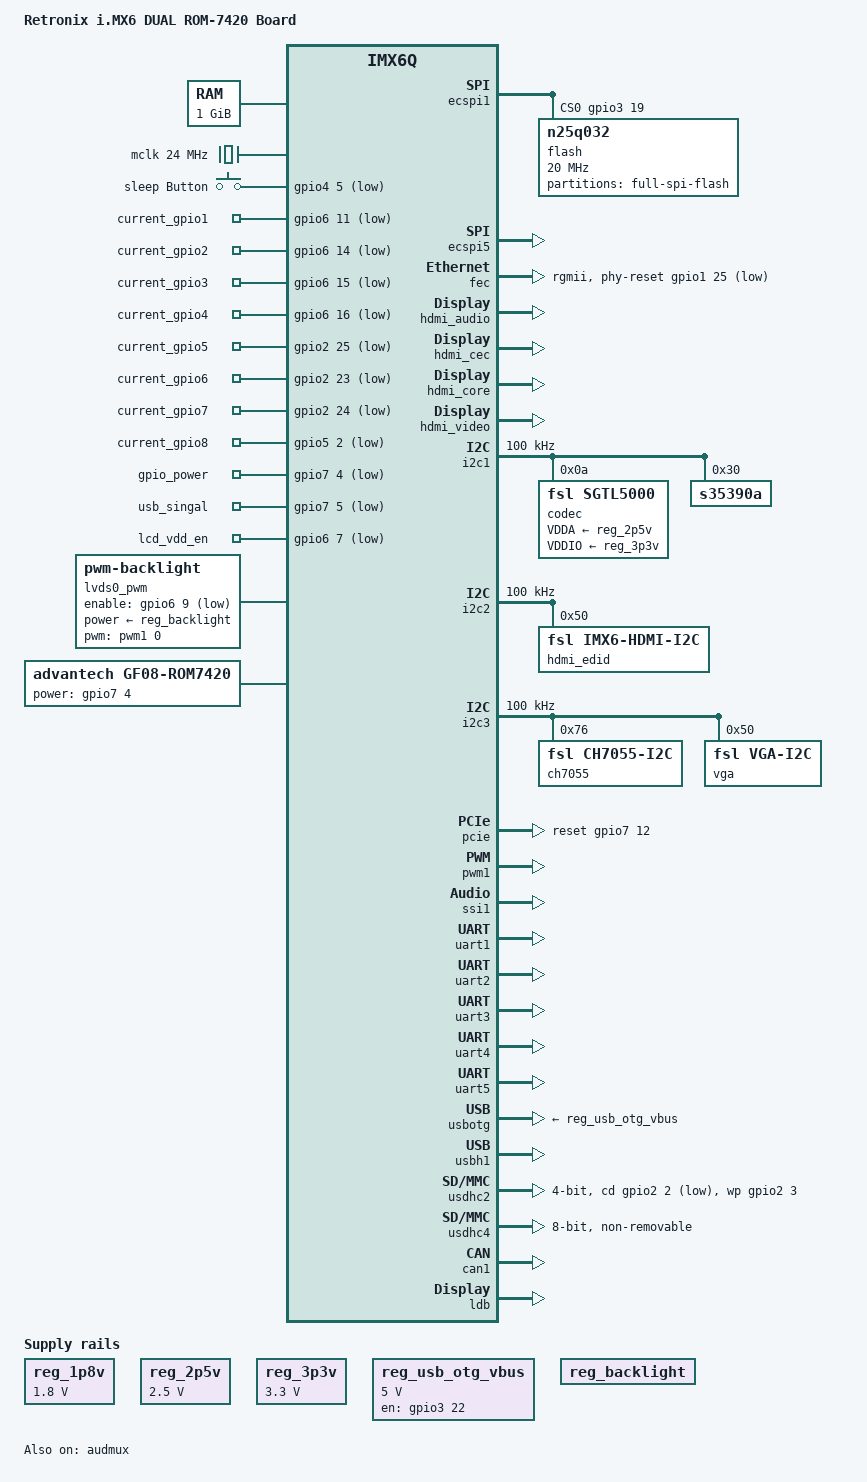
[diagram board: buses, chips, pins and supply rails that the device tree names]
/*
 * Copyright 2012 Freescale Semiconductor, Inc.
 * Copyright 2011 Linaro Ltd.
 *
 * The code contained herein is licensed under the GNU General Public
 * License. You may obtain a copy of the GNU General Public License
 * Version 2 or later at the following locations:
 *
 * http://www.opensource.org/licenses/gpl-license.html
 * http://www.gnu.org/copyleft/gpl.html
 */

/dts-v1/;

#include "skeleton.dtsi"
#include "imx6q-pinfunc.h"
#include <dt-bindings/gpio/gpio.h>
#include <dt-bindings/input/input.h>
#include <dt-bindings/interrupt-controller/arm-gic.h>
#include <dt-bindings/clock/imx6qdl-clock.h>
#include "imx6q-advantech-soc.dtsi"
#include "imx6q-advantech-rom7420-iomux.dtsi"

/ {
	model = "Retronix i.MX6 DUAL ROM-7420 Board";
	compatible = "fsl,imx6q-advantech-rom7420", "fsl,imx6q";
	
	aliases {
		mxcfb0 = &lvds_display;
		mxcfb1 = &lcd_display;
	};
	
	memory {
		reg = <0x10000000 0x40000000>;
	};
	
	clocks {
		#address-cells = <1>;
		#size-cells = <0>;
		mclk: clock@0 {
			compatible = "fixed-clock";
			reg = <0>;
			#clock-cells = <0>;
			clock-frequency = <24000000>;
		};
	};
	
	regulators {
		compatible = "simple-bus";
		#address-cells = <1>;
		#size-cells = <0>;
		
		reg_1p8v: 1p8v {
			compatible = "regulator-fixed";
			regulator-name = "1P8V";
			regulator-min-microvolt = <1800000>;
			regulator-max-microvolt = <1800000>;
			regulator-always-on;
		};

		reg_2p5v: 2p5v {
			compatible = "regulator-fixed";
			regulator-name = "2P5V";
			regulator-min-microvolt = <2500000>;
			regulator-max-microvolt = <2500000>;
			regulator-always-on;
		};

		reg_3p3v: 3p3v {
			compatible = "regulator-fixed";
			regulator-name = "3P3V";
			regulator-min-microvolt = <3300000>;
			regulator-max-microvolt = <3300000>;
			regulator-always-on;
		};

		reg_usb_otg_vbus: usb_otg_vbus {
			compatible = "regulator-fixed";
			regulator-name = "usb_otg_vbus";
			regulator-min-microvolt = <5000000>;
			regulator-max-microvolt = <5000000>;
			gpio = <&gpio3 22 0>;
			enable-active-high;
		};

		reg_backlight: backlight {
			compatible = "regulator-fixed";
			regulator-name = "lcd-supply";
			startup-delay-us = <5000>;
			enable-active-high;
		};
	
	};

	gpio-keys {
		compatible = "gpio-keys";
		pinctrl-names = "default";
		pinctrl-0 = <&pinctrl_keys_1>;
		
		sleep {
			label = "sleep Button";
			gpios = <&gpio4 5 1>;
			linux,code = <KEY_SUSPEND>; /* KEY_SUSPEND */
			gpio-key,wakeup;
		};

	};

	gpio_export {
		compatible = "gpio-export";

		/* current_gpio1 = <&gpio6 11 0>; 171 */
		current_gpio1 {
			/*gpio-export,name = "current_gpio1";*/
			gpio-export,output = <1>;
			gpio-export,direction_may_change ;
			gpios = <&gpio6 11 1>;
		};

		/* current_gpio2 = <&gpio6 14 0>; 174 */
		current_gpio2 {
			/*gpio-export,name = "current_gpio2";*/
			gpio-export,output = <1>;
			gpio-export,direction_may_change ;
			gpios = <&gpio6 14 1>;
		};

		/* current_gpio3 = <&gpio6 15 0>; 175 */
		current_gpio3 {
			/*gpio-export,name = "current_gpio3";*/
			gpio-export,output = <1>;
			gpio-export,direction_may_change ;
			gpios = <&gpio6 15 1>;
		};

		/* current_gpio4 = <&gpio6 16 0>; 176 */
		current_gpio4 {
			/*gpio-export,name = "current_gpio4";*/
			gpio-export,output = <1>;
			gpio-export,direction_may_change ;
			gpios = <&gpio6 16 1>;
		};

		/* current_gpio5 = <&gpio2 25 0>; 57 */
		current_gpio5 {
			/*gpio-export,name = "current_gpio5";*/
			gpio-export,output = <1>;
			gpio-export,direction_may_change ;
			gpios = <&gpio2 25 1>;
		};

		/* current_gpio6 = <&gpio2 23 0>; 55 */
		current_gpio6 {
			/*gpio-export,name = "current_gpio6";*/
			gpio-export,output = <1>;
			gpio-export,direction_may_change ;
			gpios = <&gpio2 23 1>;
		};
		
		/* current_gpio7 = <&gpio2 24 0>; 56 */
		current_gpio7 {
			/*gpio-export,name = "current_gpio7";*/
			gpio-export,output = <1>;
			gpio-export,direction_may_change ;
			gpios = <&gpio2 24 1>;
		};

		/* current_gpio8 = <&gpio5 2 0>; 130 */
		current_gpio8 {
			/*gpio-export,name = "current_gpio8";*/
			gpio-export,output = <1>;
			gpio-export,direction_may_change ;
			gpios = <&gpio5 2 1>;
		};
		

		/* can2_tx = <&gpio7 4 1>; 196 */
		gpio_power {
			/*gpio-export,name = "can2_tx";*/
			gpio-export,output = <1>;
			gpio-export,direction_may_change ;
			gpios = <&gpio7 4 1>;
		};	

		/* can2_rx = <&gpio7 5 1>; 197 */
		usb_singal {
			/*gpio-export,name = "can2_rx";*/
			gpio-export,output = <1>;
			gpio-export,direction_may_change ;
			gpios = <&gpio7 5 1>;
		};
		
		/* lcd_vdd_en = <&gpio6 7 1>; 167 */
		lcd_vdd_en {
			/*gpio-export,name = "lcd_vdd_en";*/
			gpio-export,output = <1>;
			gpio-export,direction_may_change ;
			gpios = <&gpio6 7 1>;
		};

	};

	sound {
		compatible = "fsl,imx6q-rtx-sgtl5000",
			     "fsl,imx-audio-sgtl5000";
		model = "imx6q-rtx-sgtl5000";
		ssi-controller = <&ssi1>;
		audio-codec = <&codec>;
		audio-routing =
			"MIC_IN", "Mic Jack",
			"LINE_IN", "Line In Jack",
			"Headphone Jack", "HP_OUT",
			"Ext Spk", "LINE_OUT";
		mux-int-port = <1>;
		mux-ext-port = <3>;
	};

	sound-hdmi {
		compatible = "fsl,imx6q-audio-hdmi",
			         "fsl,imx-audio-hdmi";
		model = "imx-audio-hdmi";
		hdmi-controller = <&hdmi_audio>;
	};

	lvds_display: fb@0 {
		compatible = "fsl,mxc_sdc_fb";
		disp_dev = "ldb";
		interface_pix_fmt = "RGB666";
		default_bpp = <16>;
		int_clk = <0>;
		late_init = <0>;
		status = "okay";
	};
	
	hdmi_display: fb@2 {
		compatible = "fsl,mxc_sdc_fb";
		disp_dev = "hdmi";
		interface_pix_fmt = "RGB24";
		mode_str ="1920x1080M@60";
		default_bpp = <32>;
		int_clk = <0>;
		late_init = <0>;
		status = "okay";
	};
	
	lcd_display: fb@1 {
		compatible = "fsl,mxc_sdc_fb";
		disp_dev = "lcd";
		interface_pix_fmt = "RGB24";
		mode_str ="LDB-XGA";
		default_bpp = <24>;
		int_clk = <0>;
		late_init = <0>;
		status = "disabled";
	};

	lcd@0 {
		compatible = "fsl,lcd";
		ipu_id = <0>;
		disp_id = <0>;
		default_ifmt = "RGB24";
		pinctrl-names = "default";
		pinctrl-0 = <&pinctrl_ipu1_1>;
		status = "okay";
	};

	lvds0_pwm {
		compatible = "pwm-backlight";
		pwms = <&pwm1 0 50000>;
		brightness-levels = <0 4 8 16 32 64 128 255>;
		default-brightness-level = <6>;
		enable-gpios = <&gpio6 9 1>;
		power-supply = <&reg_backlight>;
		status = "okay";
	};

	v4l2_cap_0 {
		compatible = "fsl,imx6q-v4l2-capture";
		ipu_id = <0>;
		csi_id = <0>;
		mclk_source = <0>;
		status = "okay";
	};

	v4l2_cap_1 {
		compatible = "fsl,imx6q-v4l2-capture";
		ipu_id = <0>;
		csi_id = <1>;
		mclk_source = <0>;
		status = "okay";
	};

	v4l2_out {
		compatible = "fsl,mxc_v4l2_output";
		status = "okay";
	};

	advantech {
		compatible = "advantech,gf08-rom7420";
		pinctrl-names = "default";
		gpio-power = <&gpio7 4 0>;
		status = "okay";
	};

};

&audmux {
	pinctrl-names = "default";
	pinctrl-0 = <&pinctrl_audmux_3>;
	status = "okay";
};

&ecspi1 {
	fsl,spi-num-chipselects = <1>;
	cs-gpios = <&gpio3 19 0>;
	pinctrl-names = "default";
	pinctrl-0 = <&pinctrl_cspi1_1>;
	status = "okay"; 

	flash: n25q032@0 {
		#address-cells = <1>;
		#size-cells = <1>;
		compatible = "n25q032";
		spi-max-frequency = <20000000>;
		reg = <0>;
		partition@0 {
			label = "full-spi-flash";
			reg = <0x00000000 0x00400000>;  /* 4MB */ 
		};
	};
};

&ecspi5 {
	fsl,spi-num-chipselects = <1>;
	cs-gpios = <&gpio1 17 0>, <&gpio1 19 0>;
	pinctrl-names = "default";
	pinctrl-0 = <&pinctrl_cspi5_1>;
	status = "okay"; 
};

&fec {
	pinctrl-names = "default";
	pinctrl-0 = <&pinctrl_enet_4>;
	phy-mode = "rgmii";
	phy-reset-gpios = <&gpio1 25 0>;
	phy-reset-fall-duration = <1>;
	phy-reset-rise-duration = <20>;
	phy-reset-boot-on;
	status = "okay";
};

&hdmi_audio {
	status = "okay";
};

&gpc {
	fsl,ldo-bypass = <1>; /* use ldo-bypass, u-boot will check it and configure */
	fsl,wdog-reset = <2>; /* watchdog select of reset source */
};

&hdmi_cec {
	pinctrl-names = "default";
	pinctrl-0 = <&pinctrl_hdmi_cec_2>;
	status = "okay";
};

&hdmi_core {
	ipu_id = <0>;
	disp_id = <1>;
	status = "okay";
};

&hdmi_video {
	fsl,phy_reg_vlev = <0x0294>;
	fsl,phy_reg_cksymtx = <0x800d>;
	status = "okay";
};

&i2c1 {
	clock-frequency = <100000>;
	pinctrl-names = "default";
	pinctrl-0 = <&pinctrl_i2c1_2>;
	status = "okay";

	codec: sgtl5000@0a {
		compatible = "fsl,sgtl5000";
		reg = <0x0a>;
		clocks = <&clks IMX6QDL_CLK_CKO>;
		VDDA-supply = <&reg_2p5v>;
		VDDIO-supply = <&reg_3p3v>;
		amic-mono;
	};

	s35390a: s35390a@30 {
		compatible = "s35390a";
		reg = <0x30>;
	};

};

&i2c2 {
	clock-frequency = <100000>;
	pinctrl-names = "default";
	pinctrl-0 = <&pinctrl_i2c2_2>;
	status = "okay";

	hdmi_edid: edid@50 {
		compatible = "fsl,imx6-hdmi-i2c";
		reg = <0x50>;
	};

};

&i2c3 {
	clock-frequency = <100000>;
	pinctrl-names = "default";
	pinctrl-0 = <&pinctrl_i2c3_2>;
	status = "okay";

	ch7055: edid@76 {
		compatible = "fsl,ch7055-i2c";
		reg = <0x76>;
	};

	vga: edid@50 {
		compatible = "fsl,vga-i2c";
		reg = <0x50>;
	};
};

&pcie {
	pinctrl-names = "default";
	pinctrl-0 = <&pinctrl_pcie_1>;
	power-on-gpio = <&gpio3 20 0>;
	reset-gpio = <&gpio7 12 0>;
	wake-up-gpio = <&gpio5 20 1>;
	disable-gpio = <&gpio4 14 0>;
	status = "okay";
};

&pwm1 {
	pinctrl-names = "default";
	pinctrl-0 = <&pinctrl_pwm1_1>;
	status = "okay";
};

&ssi1 {
	fsl,mode = "i2s-slave";
	status = "okay";
};

&uart1 {
	pinctrl-names = "default";
	pinctrl-0 = <&pinctrl_uart1_1>;
	status = "okay";
};

&uart2 {
	pinctrl-names = "default";
	pinctrl-0 = <&pinctrl_uart2_1>;
	status = "okay";
};

&uart3 {
	pinctrl-names = "default";
	pinctrl-0 = <&pinctrl_uart3_1>;
	status = "okay";
};

&uart4 {
	pinctrl-names = "default";
	pinctrl-0 = <&pinctrl_uart4_1>;
	status = "okay";
};

&uart5 {
	pinctrl-names = "default";
	pinctrl-0 = <&pinctrl_uart5_1>;
	status = "okay";
};

&usbotg {
	pinctrl-names = "default";
	pinctrl-0 = <&pinctrl_usbotg_2>;
	vbus-supply = <&reg_usb_otg_vbus>;
	disable-over-current;
	status = "okay";
};

&usbh1 {
	pinctrl-names = "default";
	status = "okay";
};

&usdhc2 {
	pinctrl-names = "default";
	pinctrl-0 = <&pinctrl_usdhc2_50mhz &pinctrl_usdhc2_cd_wp>;
	bus-width = <4>;
	cd-gpios = <&gpio2 2 1>;
	wp-gpios = <&gpio2 3 0>;
	no-1-8-v;
	keep-power-in-suspend;
	enable-sdio-wakeup;
	status = "okay";
};

&usdhc4 {
	pinctrl-names = "default";
	pinctrl-0 = <&pinctrl_usdhc4_1>;
	bus-width = <8>;
	non-removable;
	no-1-8-v;
	keep-power-in-suspend;
	status = "okay";
};

&can1 {
	pinctrl-names = "default";
	pinctrl-0 = <&pinctrl_flexcan1_1>;
	status = "okay";
};

&ldb {
	status = "okay";
	lvds-channel@0 {
		fsl,data-mapping = "spwg";
		fsl,data-width = <18>;
		primary;
		crtc = "ipu1-di0";
		interface_pix_fmt = "RGB666";
		status = "okay";

		display-timings {
			native-mode = <&timing0>;
			timing0: hsd100pxn1 {
				clock-frequency = <24360000>;
				hactive = <800>;
				hfront-porch = <40>;
				hback-porch = <40>;
				hsync-len = <48>;
				
				vactive = <480>;
				vfront-porch = <13>;
				vback-porch = <29>;
				vsync-len = <3>;

				hsync-active = <1>;
				vsync-active = <1>;
				de-active = <0>;
			};
		};
	};

};

